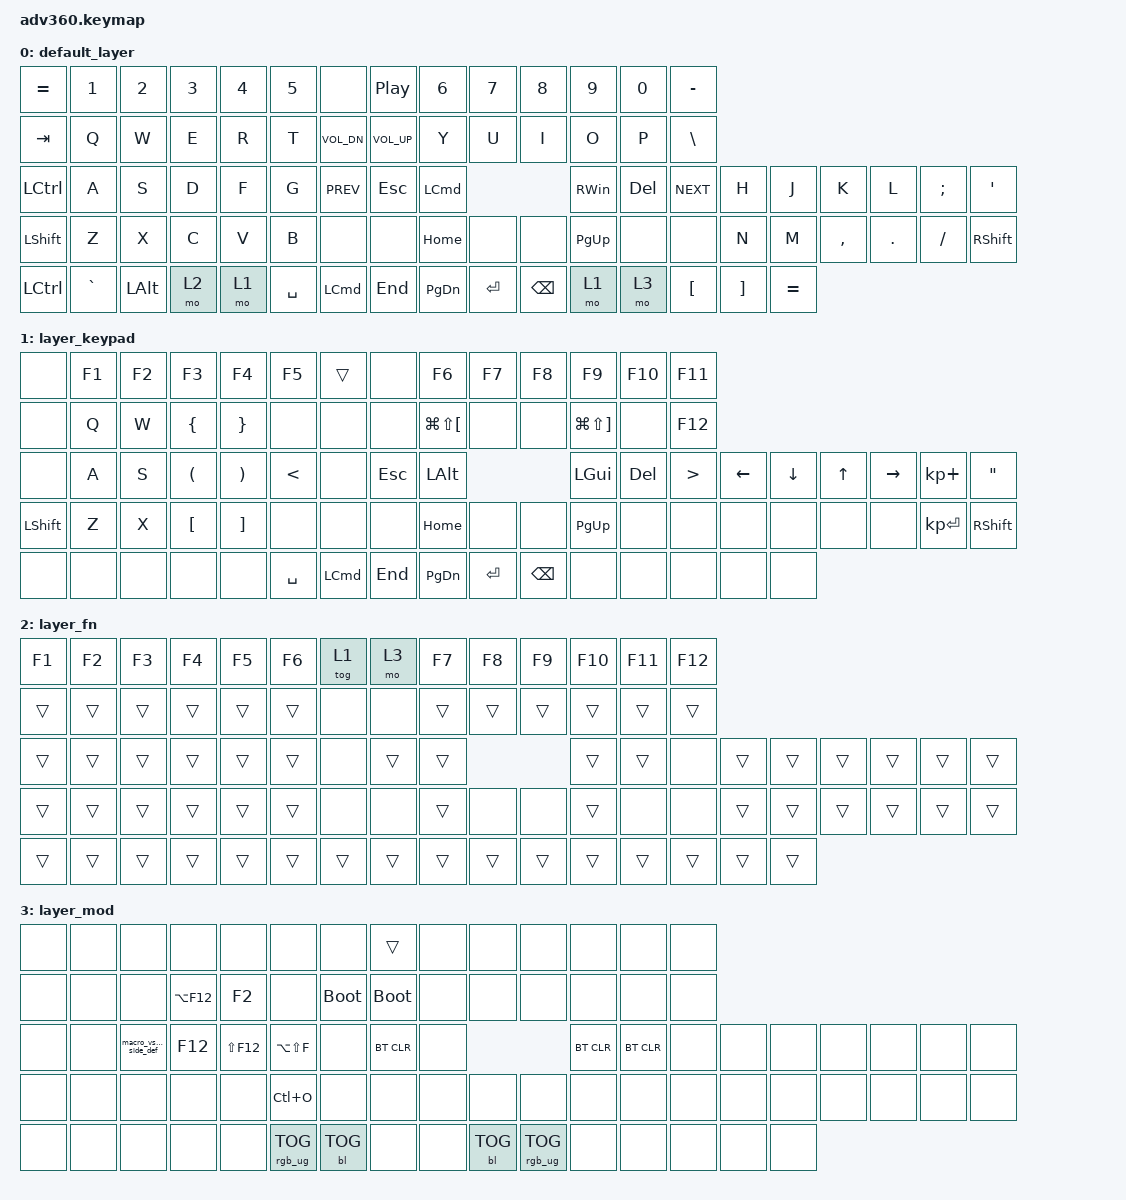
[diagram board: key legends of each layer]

/*
 * Copyright (c) 2020 The ZMK Contributors
 *
 * SPDX-License-Identifier: MIT
 */


/* THIS FILE WAS GENERATED!
 *
 * This file was generated automatically. You may or may not want to
 * edit it directly.
 */

#include <behaviors.dtsi>
#include <dt-bindings/zmk/keys.h>
#include <dt-bindings/zmk/bt.h>
#include <dt-bindings/zmk/rgb.h>
#include <dt-bindings/zmk/backlight.h>

/ {
  behaviors {
    #include "macros.dtsi"

    hm: homerow_mods {
        compatible = "zmk,behavior-hold-tap";
        label = "HOMEROW_MODS";
        #binding-cells = <2>;
        tapping-term-ms = <200>;
        quick_tap_ms = <175>;
        flavor = "tap-preferred";
        bindings = <&kp>, <&kp>;
    };
  };

    keymap {
        compatible = "zmk,keymap";


        default_layer {
            bindings = <
 &kp EQUAL     &kp N1        &kp N2  &kp N3  &kp N4     &kp N5                       &none  &kp C_PLAY_PAUSE            &kp N6     &kp N7         &kp N8         &kp N9      &kp N0   &kp MINUS
   &kp TAB      &kp Q         &kp W   &kp E   &kp R      &kp T                &kp C_VOL_DN      &kp C_VOL_UP             &kp Y      &kp U          &kp I          &kp O       &kp P    &kp BSLH
 &kp LCTRL      &kp A         &kp S   &kp D   &kp F      &kp G                  &kp C_PREV           &kp ESC  &kp LEFT_COMMAND                            &kp RIGHT_WIN  &kp DELETE  &kp C_NEXT     &kp H      &kp J      &kp K    &kp L  &kp SEMI    &kp SQT
 &kp LSHFT      &kp Z         &kp X   &kp C   &kp V      &kp B                       &none             &none          &kp HOME      &none          &none      &kp PG_UP       &none       &none     &kp N      &kp M  &kp COMMA  &kp DOT  &kp FSLH  &kp RSHFT
 &kp LCTRL  &kp GRAVE  &kp LEFT_ALT   &mo 2   &mo 1  &kp SPACE            &kp LEFT_COMMAND           &kp END         &kp PG_DN  &kp ENTER  &kp BACKSPACE          &mo 1       &mo 3    &kp LBKT  &kp RBKT  &kp EQUAL
            >;
        };

        layer_keypad {
            bindings = <
     &none  &kp F1  &kp F2                &kp F3                 &kp F4         &kp F5                      &trans       &none                    &kp F6     &kp F7         &kp F8                     &kp F9  &kp F10           &kp F11
     &none   &kp Q   &kp W        &kp LEFT_BRACE        &kp RIGHT_BRACE          &none                       &none       &none  &kp LG(LS(LEFT_BRACKET))      &none          &none  &kp LG(LS(RIGHT_BRACKET))    &none           &kp F12
     &none   &kp A   &kp S  &kp LEFT_PARENTHESIS  &kp RIGHT_PARENTHESIS  &kp LESS_THAN                       &none  &kp ESCAPE                  &kp LALT                                             &kp LGUI  &kp DEL  &kp GREATER_THAN  &kp LEFT_ARROW  &kp DOWN_ARROW  &kp UP_ARROW  &kp RIGHT_ARROW   &kp KP_PLUS  &kp DOUBLE_QUOTES
 &kp LSHFT   &kp Z   &kp X      &kp LEFT_BRACKET      &kp RIGHT_BRACKET          &none                       &none       &none                  &kp HOME      &none          &none                  &kp PG_UP    &none             &none           &none           &none         &none            &none  &kp KP_ENTER          &kp RSHFT
     &none   &none   &none                 &none                  &none      &kp SPACE            &kp LEFT_COMMAND     &kp END                 &kp PG_DN  &kp ENTER  &kp BACKSPACE                      &none    &none             &none           &none           &none
            >;
        };

        layer_fn {
            bindings = <
 &kp F1  &kp F2  &kp F3  &kp F4  &kp F5  &kp F6            &tog 1   &mo 3  &kp F7  &kp F8  &kp F9  &kp F10  &kp F11  &kp F12
 &trans  &trans  &trans  &trans  &trans  &trans             &none   &none  &trans  &trans  &trans   &trans   &trans   &trans
 &trans  &trans  &trans  &trans  &trans  &trans             &none  &trans  &trans                   &trans   &trans    &none  &trans  &trans  &trans  &trans  &trans  &trans
 &trans  &trans  &trans  &trans  &trans  &trans             &none   &none  &trans   &none   &none   &trans    &none    &none  &trans  &trans  &trans  &trans  &trans  &trans
 &trans  &trans  &trans  &trans  &trans  &trans            &trans  &trans  &trans  &trans  &trans   &trans   &trans   &trans  &trans  &trans
            >;
        };

        layer_mod {
            bindings = <
  &none   &none                   &none        &none        &none            &none                  &none       &trans   &none       &none            &none       &none       &none   &none
  &none   &none                   &none  &kp LA(F12)       &kp F2            &none            &bootloader  &bootloader   &none       &none            &none       &none       &none   &none
  &none   &none  &macro_vscode_side_def      &kp F12  &kp LS(F12)    &kp LA(LS(F))                  &none   &bt BT_CLR   &none                               &bt BT_CLR  &bt BT_CLR   &none   &none   &none   &none   &none   &none   &none
  &none   &none                   &none        &none        &none        &kp LC(O)                  &none        &none   &none       &none            &none       &none       &none   &none   &none   &none   &none   &none   &none   &none
  &none   &none                   &none        &none        &none  &rgb_ug RGB_TOG             &bl BL_TOG        &none   &none  &bl BL_TOG  &rgb_ug RGB_TOG       &none       &none   &none   &none   &none
            >;
        };

    };
};
